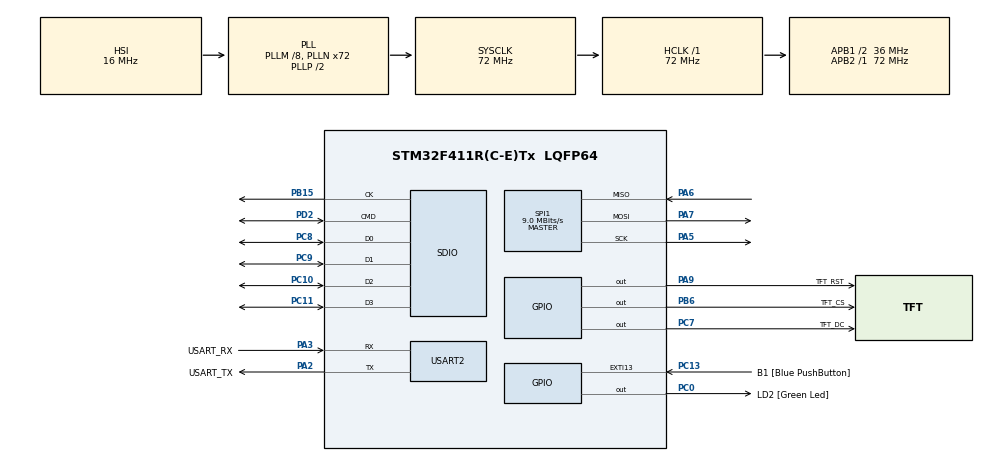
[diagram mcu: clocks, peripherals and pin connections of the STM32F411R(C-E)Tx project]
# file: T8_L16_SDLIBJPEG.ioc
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Dma.Request0=SDIO_RX
Dma.Request1=SDIO_TX
Dma.SDIO_RX.0.Direction=DMA_PERIPH_TO_MEMORY
Dma.SDIO_RX.0.FIFOMode=DMA_FIFOMODE_ENABLE
Dma.SDIO_RX.0.FIFOThreshold=DMA_FIFO_THRESHOLD_FULL
Dma.SDIO_RX.0.Instance=DMA2_Stream3
Dma.SDIO_RX.0.MemBurst=DMA_MBURST_INC4
Dma.SDIO_RX.0.MemDataAlignment=DMA_MDATAALIGN_WORD
Dma.SDIO_RX.0.MemInc=DMA_MINC_ENABLE
Dma.SDIO_RX.0.Mode=DMA_PFCTRL
Dma.SDIO_RX.0.PeriphBurst=DMA_PBURST_INC4
Dma.SDIO_RX.0.PeriphDataAlignment=DMA_PDATAALIGN_WORD
Dma.SDIO_RX.0.PeriphInc=DMA_PINC_DISABLE
Dma.SDIO_RX.0.Priority=DMA_PRIORITY_VERY_HIGH
Dma.SDIO_TX.1.Direction=DMA_MEMORY_TO_PERIPH
Dma.SDIO_TX.1.FIFOMode=DMA_FIFOMODE_ENABLE
Dma.SDIO_TX.1.FIFOThreshold=DMA_FIFO_THRESHOLD_FULL
Dma.SDIO_TX.1.Instance=DMA2_Stream6
Dma.SDIO_TX.1.MemBurst=DMA_MBURST_INC4
Dma.SDIO_TX.1.MemDataAlignment=DMA_MDATAALIGN_WORD
Dma.SDIO_TX.1.MemInc=DMA_MINC_ENABLE
Dma.SDIO_TX.1.Mode=DMA_PFCTRL
Dma.SDIO_TX.1.PeriphBurst=DMA_PBURST_INC4
Dma.SDIO_TX.1.PeriphDataAlignment=DMA_PDATAALIGN_WORD
Dma.SDIO_TX.1.PeriphInc=DMA_PINC_DISABLE
Dma.SDIO_TX.1.Priority=DMA_PRIORITY_VERY_HIGH
FATFS.USE_DMA_CODE_SD=1
FATFS._USE_FIND=1
Mcu.Family=STM32F4
Mcu.Name=STM32F411R(C-E)Tx
Mcu.Package=LQFP64
NVIC.DMA2_Stream3_IRQn=true\:0\:0\:false\:false\:true\:false\:true
NVIC.DMA2_Stream6_IRQn=true\:0\:0\:false\:false\:true\:false\:true
NVIC.PriorityGroup=NVIC_PRIORITYGROUP_0
NVIC.SDIO_IRQn=true\:0\:0\:false\:false\:true\:true\:true
PA13.GPIO_Label=TMS
PA13.Mode=Serial_Wire
PA13.Signal=SYS_JTMS-SWDIO
PA14.GPIO_Label=TCK
PA14.Mode=Serial_Wire
PA14.Signal=SYS_JTCK-SWCLK
PA2.GPIO_Label=USART_TX
PA2.Mode=Asynchronous
PA2.Signal=USART2_TX
PA3.GPIO_Label=USART_RX
PA3.Mode=Asynchronous
PA3.Signal=USART2_RX
PA5.Mode=Full_Duplex_Master
PA5.Signal=SPI1_SCK
PA6.Mode=Full_Duplex_Master
PA6.Signal=SPI1_MISO
PA7.Mode=Full_Duplex_Master
PA7.Signal=SPI1_MOSI
PA9.GPIO_Label=TFT_RST
PA9.Signal=GPIO_Output
PB15.Mode=SD_4_bits_Wide_bus
PB15.Signal=SDIO_CK
PB6.GPIO_Label=TFT_CS
PB6.Signal=GPIO_Output
PC0.GPIO_Label=LD2 [Green Led]
PC0.Signal=GPIO_Output
PC10.Mode=SD_4_bits_Wide_bus
PC10.Signal=SDIO_D2
PC11.Mode=SD_4_bits_Wide_bus
PC11.Signal=SDIO_D3
PC13-ANTI_TAMP.GPIO_Label=B1 [Blue PushButton]
PC13-ANTI_TAMP.GPIO_ModeDefaultEXTI=GPIO_MODE_IT_FALLING
PC13-ANTI_TAMP.Signal=GPXTI13
PC14-OSC32_IN.Mode=LSE-External-Oscillator
PC14-OSC32_IN.Signal=RCC_OSC32_IN
PC15-OSC32_OUT.Mode=LSE-External-Oscillator
PC15-OSC32_OUT.Signal=RCC_OSC32_OUT
PC7.GPIO_Label=TFT_DC
PC7.Signal=GPIO_Output
PC8.Mode=SD_4_bits_Wide_bus
PC8.Signal=SDIO_D0
PC9.Mode=SD_4_bits_Wide_bus
PC9.Signal=SDIO_D1
PD2.Mode=SD_4_bits_Wide_bus
PD2.Signal=SDIO_CMD
PH0\ -\ OSC_IN.Mode=HSE-External-Clock-Source
PH0\ -\ OSC_IN.Signal=RCC_OSC_IN
PH1\ -\ OSC_OUT.Mode=HSE-External-Clock-Source
PH1\ -\ OSC_OUT.Signal=RCC_OSC_OUT
ProjectManager.HeapSize=0x400
ProjectManager.StackSize=0x800
ProjectManager.TargetToolchain=STM32CubeIDE
RCC.48MHZClocksFreq_Value=48000000
RCC.AHBFreq_Value=72000000
RCC.APB1CLKDivider=RCC_HCLK_DIV2
RCC.APB1Freq_Value=36000000
RCC.APB1TimFreq_Value=72000000
RCC.APB2Freq_Value=72000000
RCC.APB2TimFreq_Value=72000000
RCC.CortexFreq_Value=72000000
RCC.FLatency-AdvancedSettings=FLASH_LATENCY_2
RCC.HCLKFreq_Value=72000000
RCC.HSE_VALUE=8000000
RCC.HSI_VALUE=16000000
RCC.PLLM=8
RCC.PLLN=72
RCC.PLLQ=3
RCC.SYSCLKFreq_VALUE=72000000
RCC.SYSCLKSource=RCC_SYSCLKSOURCE_PLLCLK
RCC.VCOOutputFreq_Value=144000000
SDIO.ClockDiv=20
SDIO.ClockPowerSave=SDIO_CLOCK_POWER_SAVE_ENABLE
SPI1.BaudRatePrescaler=SPI_BAUDRATEPRESCALER_8
SPI1.CalculateBaudRate=9.0 MBits/s
SPI1.Direction=SPI_DIRECTION_2LINES
SPI1.Mode=SPI_MODE_MASTER
SPI1.VirtualType=VM_MASTER
USART2.VirtualMode=VM_ASYNC
VP_FATFS_VS_SDIO.Mode=SDIO
VP_LIBJPEG_VS_JPEGLIB.Mode=Enabled
board=NUCLEO-F411RE

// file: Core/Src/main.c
/* USER CODE BEGIN Header */
/**
  ******************************************************************************
  * @file           : main.c
  * @brief          : Main program body
  ******************************************************************************
  * @attention
  *
  * Copyright (c) 2022 STMicroelectronics.
  * All rights reserved.
  *
  * This software is licensed under terms that can be found in the LICENSE file
  * in the root directory of this software component.
  * If no LICENSE file comes with this software, it is provided AS-IS.
  *
  ******************************************************************************
  */
/* USER CODE END Header */
#include "main.h"
#include "dma.h"
#include "fatfs.h"
#include "libjpeg.h"
#include "sdio.h"
#include "spi.h"
#include "usart.h"
#include "gpio.h"

/* USER CODE BEGIN Includes */
#include "stdio.h"
#include "string.h"

#include "TFT_ILI9341.h"
#include "GFX_Color.h"
#include "GFX_EnhancedFonts.h"
/* USER CODE END Includes */

/* USER CODE BEGIN PV */
FRESULT FatFsResult;
FATFS SdFatFs;
FIL SdCardFile;

uint8_t bytes;
char data[128];
/* USER CODE END PV */

void SystemClock_Config(void);

int main(void)
{

  /* MCU Configuration--------------------------------------------------------*/

  /* Reset of all peripherals, Initializes the Flash interface and the Systick. */
  HAL_Init();

  /* Configure the system clock */
  SystemClock_Config();

  /* Initialize all configured peripherals */
  MX_GPIO_Init();
  MX_USART2_UART_Init();
  MX_FATFS_Init();
  MX_DMA_Init();
  MX_SDIO_SD_Init();
  MX_SPI1_Init();
  MX_LIBJPEG_Init();
  /* USER CODE BEGIN 2 */

  ILI9341_Init(&hspi1);
  ILI9341_ClearDisplay(ILI9341_CYAN);

  FatFsResult = f_mount(&SdFatFs, "",1);
  if(FatFsResult != FR_OK)
  {
	  bytes = sprintf(data, "FatFS mount error.\n\r");
	  HAL_UART_Transmit(&huart2, (uint8_t*)data, bytes, 1000);
  }
  else
  {
	  bytes = sprintf(data, "FatFS mounted.\n\r");
	  HAL_UART_Transmit(&huart2, (uint8_t*)data, bytes, 1000);
	  //
	  // Open file on SD for writing
	  //
	  FatFsResult = f_open(&SdCardFile, "test.txt", FA_WRITE|FA_CREATE_ALWAYS);
	  //
	  // File open error check
	  //
	  if(FatFsResult != FR_OK)
	  {
		  bytes = sprintf(data, "No test.txt file. Can't create.\n\r");
		  HAL_UART_Transmit(&huart2, (uint8_t*)data, bytes, 1000);
	  }
	  else
	  {
		  bytes = sprintf(data, "File opened.\n\r");
		  HAL_UART_Transmit(&huart2, (uint8_t*)data, bytes, 1000);
		  //
		  //	Print something to this file
		  //
		  for(uint8_t i = 0; i < 10; i++)
		  {
			  f_printf(&SdCardFile, "Line number %d.\n", i);
		  }

		  //
		  // Close file
		  //
		  FatFsResult = f_close(&SdCardFile);

		  bytes = sprintf(data, "File closed.\n\r");
		  HAL_UART_Transmit(&huart2, (uint8_t*)data, bytes, 1000);

		  FatFsResult = f_open(&SdCardFile, "test.txt", FA_READ);
		  if(FatFsResult != FR_OK)
		  {
			  bytes = sprintf(data, "No test.txt file. Can't open \n\r");
			  HAL_UART_Transmit(&huart2, (uint8_t*)data, bytes, 1000);
		  }
		  else
		  {
			  UINT len;
			  do
			  {
				  len = 0;
				  f_read(&SdCardFile, data, 10, &len);
				  HAL_UART_Transmit(&huart2, (uint8_t*)data, len, 1000);
			  }while(len >0);
			  FatFsResult = f_close(&SdCardFile);
		  }
	  }
  }

  /* USER CODE END 2 */

  /* Infinite loop */
  /* USER CODE BEGIN WHILE */
  while (1)
  {
	  DIR dj;         /* Directory object */
	  FILINFO fno;    /* File information */

	  FatFsResult = f_findfirst(&dj, &fno, "", "*.jpg");  /* Start to search for photo files */

	  while (FatFsResult == FR_OK && fno.fname[0])
	  {         /* Repeat while an item is found */
		  ILI9341_DrawJPEG(0, 0, fno.fname);
		  FatFsResult = f_findnext(&dj, &fno);               /* Search for next item */
		  HAL_Delay(1000);
	  }
	  f_closedir(&dj);

    /* USER CODE END WHILE */

  }
}

void SystemClock_Config(void)
{
  RCC_OscInitTypeDef RCC_OscInitStruct = {0};
  RCC_ClkInitTypeDef RCC_ClkInitStruct = {0};

  /** Configure the main internal regulator output voltage
  */
  __HAL_RCC_PWR_CLK_ENABLE();
  __HAL_PWR_VOLTAGESCALING_CONFIG(PWR_REGULATOR_VOLTAGE_SCALE1);
  /** Initializes the RCC Oscillators according to the specified parameters
  * in the RCC_OscInitTypeDef structure.
  */
  RCC_OscInitStruct.OscillatorType = RCC_OSCILLATORTYPE_HSI;
  RCC_OscInitStruct.HSIState = RCC_HSI_ON;
  RCC_OscInitStruct.HSICalibrationValue = RCC_HSICALIBRATION_DEFAULT;
  RCC_OscInitStruct.PLL.PLLState = RCC_PLL_ON;
  RCC_OscInitStruct.PLL.PLLSource = RCC_PLLSOURCE_HSI;
  RCC_OscInitStruct.PLL.PLLM = 8;
  RCC_OscInitStruct.PLL.PLLN = 72;
  RCC_OscInitStruct.PLL.PLLP = RCC_PLLP_DIV2;
  RCC_OscInitStruct.PLL.PLLQ = 3;
  if (HAL_RCC_OscConfig(&RCC_OscInitStruct) != HAL_OK)
  {
    Error_Handler();
  }
  /** Initializes the CPU, AHB and APB buses clocks
  */
  RCC_ClkInitStruct.ClockType = RCC_CLOCKTYPE_HCLK|RCC_CLOCKTYPE_SYSCLK
                              |RCC_CLOCKTYPE_PCLK1|RCC_CLOCKTYPE_PCLK2;
  RCC_ClkInitStruct.SYSCLKSource = RCC_SYSCLKSOURCE_PLLCLK;
  RCC_ClkInitStruct.AHBCLKDivider = RCC_SYSCLK_DIV1;
  RCC_ClkInitStruct.APB1CLKDivider = RCC_HCLK_DIV2;
  RCC_ClkInitStruct.APB2CLKDivider = RCC_HCLK_DIV1;

  if (HAL_RCC_ClockConfig(&RCC_ClkInitStruct, FLASH_LATENCY_2) != HAL_OK)
  {
    Error_Handler();
  }
}

void Error_Handler(void)
{
  __disable_irq();
  while (1)
  {
  }
}
